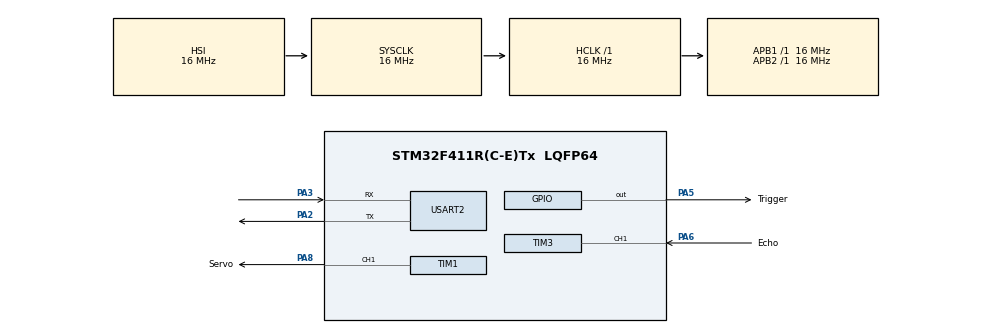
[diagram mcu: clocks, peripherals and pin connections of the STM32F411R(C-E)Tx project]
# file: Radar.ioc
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Mcu.Family=STM32F4
Mcu.Name=STM32F411R(C-E)Tx
Mcu.Package=LQFP64
NVIC.PriorityGroup=NVIC_PRIORITYGROUP_4
NVIC.TIM3_IRQn=true\:0\:0\:false\:false\:true\:true\:true\:true
NVIC.USART2_IRQn=true\:0\:0\:false\:false\:true\:true\:true\:true
PA2.Mode=Asynchronous
PA2.Signal=USART2_TX
PA3.Mode=Asynchronous
PA3.Signal=USART2_RX
PA5.GPIO_Label=Trigger
PA5.Signal=GPIO_Output
PA6.GPIO_Label=Echo
PA6.Signal=S_TIM3_CH1
PA8.GPIO_Label=Servo
PA8.Signal=S_TIM1_CH1
ProjectManager.HeapSize=0x200
ProjectManager.StackSize=0x400
ProjectManager.TargetToolchain=STM32CubeIDE
RCC.AHBFreq_Value=16000000
RCC.APB1Freq_Value=16000000
RCC.APB2Freq_Value=16000000
RCC.CortexFreq_Value=16000000
RCC.HSE_VALUE=25000000
RCC.HSI_VALUE=16000000
RCC.LSE_VALUE=32768
RCC.SYSCLKFreq_VALUE=16000000
RCC.VCOOutputFreq_Value=192000000
SH.S_TIM1_CH1.0=TIM1_CH1,PWM Generation1 CH1
SH.S_TIM3_CH1.0=TIM3_CH1,Input_Capture1_from_TI1
TIM1.Channel-PWM\ Generation1\ CH1=TIM_CHANNEL_1
TIM1.Period=20000-1
TIM1.Prescaler=16-1
TIM1.Pulse-PWM\ Generation1\ CH1=1500-1
TIM11.Prescaler=16-1
TIM3.Channel-Input_Capture1_from_TI1=TIM_CHANNEL_1
TIM3.Prescaler=16-1
USART2.VirtualMode=VM_ASYNC
VP_TIM11_VS_ClockSourceINT.Mode=Enable_Timer
VP_TIM1_VS_ClockSourceINT.Mode=Internal
VP_TIM3_VS_ClockSourceINT.Mode=Internal
board=custom

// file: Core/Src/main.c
/* USER CODE BEGIN Header */
/**
  ******************************************************************************
  * @file           : main.c
  * @brief          : Main program body
  ******************************************************************************
  * @attention
  *
  * Copyright (c) 2024 STMicroelectronics.
  * All rights reserved.
  *
  * This software is licensed under terms that can be found in the LICENSE file
  * in the root directory of this software component.
  * If no LICENSE file comes with this software, it is provided AS-IS.
  *
  ******************************************************************************
  */
/* USER CODE END Header */
#include "main.h"

/* USER CODE BEGIN Includes */
#include "UART.h"
/* USER CODE END Includes */

TIM_HandleTypeDef htim1;
TIM_HandleTypeDef htim3;
TIM_HandleTypeDef htim11;

UART_HandleTypeDef huart2;

void SystemClock_Config(void);
static void MX_GPIO_Init(void);
static void MX_TIM1_Init(void);
static void MX_TIM3_Init(void);
static void MX_TIM11_Init(void);
static void MX_USART2_UART_Init(void);

/* USER CODE BEGIN 0 */

long map(long x, long in_min, long in_max, long out_min, long out_max) {
  return (x - in_min) * (out_max - out_min) / (in_max - in_min) + out_min;
}

// delay Function implement using TIMER10(for us delay)
void delayUS(uint16_t time)
{
	htim11.Instance->CNT = 0;
	while(htim11.Instance->CNT < time);
}

uint32_t IC_Val1 = 0;
uint32_t IC_Val2 = 0;
uint32_t Difference = 0;
uint8_t IsFirstCaptured = 0;
uint32_t Distance = 0;

// ISR function(Input Capture)
void HAL_TIM_IC_CaptureCallback(TIM_HandleTypeDef *htim)
{
	// If Rising edge occurs, execute the code
	if(htim->Channel == HAL_TIM_ACTIVE_CHANNEL_1)
	{
		// Rising edge Interrupt
		if(IsFirstCaptured == 0)
		{
			// Read Timer CNT
			IC_Val1 = HAL_TIM_ReadCapturedValue(htim, TIM_CHANNEL_1);
			IsFirstCaptured = 1;
			// Next Interrupt -> Falling edge set
			__HAL_TIM_SET_CAPTUREPOLARITY(htim, TIM_CHANNEL_1,
					TIM_INPUTCHANNELPOLARITY_FALLING);
		}

		// Falling edge Interrupt
		else if(IsFirstCaptured == 1)
		{
			// Read Timer CNT
			IC_Val2 = HAL_TIM_ReadCapturedValue(htim, TIM_CHANNEL_1);
			htim->Instance->CNT = 0;
			if(IC_Val2 > IC_Val1) Difference = IC_Val2 - IC_Val1;
			// (IC_Val2 - IC_Val1) mean Ultrasonic transmit and receive time difference
			else if(IC_Val1 > IC_Val2) Difference = (0xffff - IC_Val1) + IC_Val2;
			// (IC_Val1 > IC_Val2) mean CNT value overflow

			// calculate distance
			/*
			 * CLK = 1Mhz -> 1clk = 1us
			 * distance = velocity*time = 340[m/s]*(CNT/2)[us] = 0.034*CNT/2[cm]
			 */
			Distance = Difference * 0.034 / 2;
			// Next Interrupt -> Rising edge set
			IsFirstCaptured = 0;
			__HAL_TIM_SET_CAPTUREPOLARITY(htim, TIM_CHANNEL_1,
					TIM_INPUTCHANNELPOLARITY_RISING);

			// disable Interrupt
			__HAL_TIM_DISABLE_IT(htim, TIM_IT_CC1);
		}
	}
}

uint32_t getDistance()
{
	// Trigger
	HAL_GPIO_WritePin(Trigger_GPIO_Port, Trigger_Pin, 1);
	delayUS(10);
	HAL_GPIO_WritePin(Trigger_GPIO_Port, Trigger_Pin, 0);

	// enable Interrupt -> can only occur Interrupt when I want to
	__HAL_TIM_ENABLE_IT(&htim3, TIM_IT_CC1);
	return Distance;
}

/* USER CODE END 0 */

int main(void)
{

  /* MCU Configuration--------------------------------------------------------*/

  /* Reset of all peripherals, Initializes the Flash interface and the Systick. */
  HAL_Init();

  /* Configure the system clock */
  SystemClock_Config();

  /* Initialize all configured peripherals */
  MX_GPIO_Init();
  MX_TIM1_Init();
  MX_TIM3_Init();
  MX_TIM11_Init();
  MX_USART2_UART_Init();
  /* USER CODE BEGIN 2 */
  initUart(&huart2);
  HAL_TIM_PWM_Start(&htim1, TIM_CHANNEL_1);
  HAL_TIM_IC_Start_IT(&htim3, TIM_CHANNEL_1);
  HAL_TIM_Base_Start(&htim11);
  /* USER CODE END 2 */

  /* Infinite loop */
  /* USER CODE BEGIN WHILE */
  while (1)
  {
  	protocol_t txData, rxData;
  	rxData = receivePacket();
  	if(rxData.command == 'R')
  	{
  		htim1.Instance->CCR1 = map(rxData.data, 0, 180, 500, 2300);
  		/*
  		 * long map(long x, long in_min, long in_max, long out_min, long out_max) 함수
  		 * x : mapping 할 data
  		 * in_min : 현재 data 범위의 최소값
  		 * in_max : 현재 data 범위의 최대값
  		 * out_min : mapping 할 범위의 최소값
  		 * out_max : mapping 할 범위의 최대값
  		 * => 현재 데이터의 범위를 바꿔주는(mapping) 함수
  		 *
  		 * 위에서는 0~180(도) 범위의 rxData.data를 500~2300 범위로 변경하여 pulse width 조절
  		 */
  		txData.command = 'A';
  		txData.data = getDistance();
  		transmitPacket(txData);
  	}
    /* USER CODE END WHILE */

  }
}

void SystemClock_Config(void)
{
  RCC_OscInitTypeDef RCC_OscInitStruct = {0};
  RCC_ClkInitTypeDef RCC_ClkInitStruct = {0};

  /** Configure the main internal regulator output voltage
  */
  __HAL_RCC_PWR_CLK_ENABLE();
  __HAL_PWR_VOLTAGESCALING_CONFIG(PWR_REGULATOR_VOLTAGE_SCALE1);

  /** Initializes the RCC Oscillators according to the specified parameters
  * in the RCC_OscInitTypeDef structure.
  */
  RCC_OscInitStruct.OscillatorType = RCC_OSCILLATORTYPE_HSI;
  RCC_OscInitStruct.HSIState = RCC_HSI_ON;
  RCC_OscInitStruct.HSICalibrationValue = RCC_HSICALIBRATION_DEFAULT;
  RCC_OscInitStruct.PLL.PLLState = RCC_PLL_NONE;
  if (HAL_RCC_OscConfig(&RCC_OscInitStruct) != HAL_OK)
  {
    Error_Handler();
  }

  /** Initializes the CPU, AHB and APB buses clocks
  */
  RCC_ClkInitStruct.ClockType = RCC_CLOCKTYPE_HCLK|RCC_CLOCKTYPE_SYSCLK
                              |RCC_CLOCKTYPE_PCLK1|RCC_CLOCKTYPE_PCLK2;
  RCC_ClkInitStruct.SYSCLKSource = RCC_SYSCLKSOURCE_HSI;
  RCC_ClkInitStruct.AHBCLKDivider = RCC_SYSCLK_DIV1;
  RCC_ClkInitStruct.APB1CLKDivider = RCC_HCLK_DIV1;
  RCC_ClkInitStruct.APB2CLKDivider = RCC_HCLK_DIV1;

  if (HAL_RCC_ClockConfig(&RCC_ClkInitStruct, FLASH_LATENCY_0) != HAL_OK)
  {
    Error_Handler();
  }
}

static void MX_TIM1_Init(void)
{

  TIM_ClockConfigTypeDef sClockSourceConfig = {0};
  TIM_MasterConfigTypeDef sMasterConfig = {0};
  TIM_OC_InitTypeDef sConfigOC = {0};
  TIM_BreakDeadTimeConfigTypeDef sBreakDeadTimeConfig = {0};

  htim1.Instance = TIM1;
  htim1.Init.Prescaler = 16-1;
  htim1.Init.CounterMode = TIM_COUNTERMODE_UP;
  htim1.Init.Period = 20000-1;
  htim1.Init.ClockDivision = TIM_CLOCKDIVISION_DIV1;
  htim1.Init.RepetitionCounter = 0;
  htim1.Init.AutoReloadPreload = TIM_AUTORELOAD_PRELOAD_DISABLE;
  if (HAL_TIM_Base_Init(&htim1) != HAL_OK)
  {
    Error_Handler();
  }
  sClockSourceConfig.ClockSource = TIM_CLOCKSOURCE_INTERNAL;
  if (HAL_TIM_ConfigClockSource(&htim1, &sClockSourceConfig) != HAL_OK)
  {
    Error_Handler();
  }
  if (HAL_TIM_PWM_Init(&htim1) != HAL_OK)
  {
    Error_Handler();
  }
  sMasterConfig.MasterOutputTrigger = TIM_TRGO_RESET;
  sMasterConfig.MasterSlaveMode = TIM_MASTERSLAVEMODE_DISABLE;
  if (HAL_TIMEx_MasterConfigSynchronization(&htim1, &sMasterConfig) != HAL_OK)
  {
    Error_Handler();
  }
  sConfigOC.OCMode = TIM_OCMODE_PWM1;
  sConfigOC.Pulse = 1500-1;
  sConfigOC.OCPolarity = TIM_OCPOLARITY_HIGH;
  sConfigOC.OCNPolarity = TIM_OCNPOLARITY_HIGH;
  sConfigOC.OCFastMode = TIM_OCFAST_DISABLE;
  sConfigOC.OCIdleState = TIM_OCIDLESTATE_RESET;
  sConfigOC.OCNIdleState = TIM_OCNIDLESTATE_RESET;
  if (HAL_TIM_PWM_ConfigChannel(&htim1, &sConfigOC, TIM_CHANNEL_1) != HAL_OK)
  {
    Error_Handler();
  }
  sBreakDeadTimeConfig.OffStateRunMode = TIM_OSSR_DISABLE;
  sBreakDeadTimeConfig.OffStateIDLEMode = TIM_OSSI_DISABLE;
  sBreakDeadTimeConfig.LockLevel = TIM_LOCKLEVEL_OFF;
  sBreakDeadTimeConfig.DeadTime = 0;
  sBreakDeadTimeConfig.BreakState = TIM_BREAK_DISABLE;
  sBreakDeadTimeConfig.BreakPolarity = TIM_BREAKPOLARITY_HIGH;
  sBreakDeadTimeConfig.AutomaticOutput = TIM_AUTOMATICOUTPUT_DISABLE;
  if (HAL_TIMEx_ConfigBreakDeadTime(&htim1, &sBreakDeadTimeConfig) != HAL_OK)
  {
    Error_Handler();
  }
  HAL_TIM_MspPostInit(&htim1);

}

static void MX_TIM3_Init(void)
{

  TIM_ClockConfigTypeDef sClockSourceConfig = {0};
  TIM_MasterConfigTypeDef sMasterConfig = {0};
  TIM_IC_InitTypeDef sConfigIC = {0};

  htim3.Instance = TIM3;
  htim3.Init.Prescaler = 16-1;
  htim3.Init.CounterMode = TIM_COUNTERMODE_UP;
  htim3.Init.Period = 65535;
  htim3.Init.ClockDivision = TIM_CLOCKDIVISION_DIV1;
  htim3.Init.AutoReloadPreload = TIM_AUTORELOAD_PRELOAD_DISABLE;
  if (HAL_TIM_Base_Init(&htim3) != HAL_OK)
  {
    Error_Handler();
  }
  sClockSourceConfig.ClockSource = TIM_CLOCKSOURCE_INTERNAL;
  if (HAL_TIM_ConfigClockSource(&htim3, &sClockSourceConfig) != HAL_OK)
  {
    Error_Handler();
  }
  if (HAL_TIM_IC_Init(&htim3) != HAL_OK)
  {
    Error_Handler();
  }
  sMasterConfig.MasterOutputTrigger = TIM_TRGO_RESET;
  sMasterConfig.MasterSlaveMode = TIM_MASTERSLAVEMODE_DISABLE;
  if (HAL_TIMEx_MasterConfigSynchronization(&htim3, &sMasterConfig) != HAL_OK)
  {
    Error_Handler();
  }
  sConfigIC.ICPolarity = TIM_INPUTCHANNELPOLARITY_RISING;
  sConfigIC.ICSelection = TIM_ICSELECTION_DIRECTTI;
  sConfigIC.ICPrescaler = TIM_ICPSC_DIV1;
  sConfigIC.ICFilter = 0;
  if (HAL_TIM_IC_ConfigChannel(&htim3, &sConfigIC, TIM_CHANNEL_1) != HAL_OK)
  {
    Error_Handler();
  }

}

static void MX_TIM11_Init(void)
{

  htim11.Instance = TIM11;
  htim11.Init.Prescaler = 16-1;
  htim11.Init.CounterMode = TIM_COUNTERMODE_UP;
  htim11.Init.Period = 65535;
  htim11.Init.ClockDivision = TIM_CLOCKDIVISION_DIV1;
  htim11.Init.AutoReloadPreload = TIM_AUTORELOAD_PRELOAD_DISABLE;
  if (HAL_TIM_Base_Init(&htim11) != HAL_OK)
  {
    Error_Handler();
  }

}

static void MX_USART2_UART_Init(void)
{

  huart2.Instance = USART2;
  huart2.Init.BaudRate = 115200;
  huart2.Init.WordLength = UART_WORDLENGTH_8B;
  huart2.Init.StopBits = UART_STOPBITS_1;
  huart2.Init.Parity = UART_PARITY_NONE;
  huart2.Init.Mode = UART_MODE_TX_RX;
  huart2.Init.HwFlowCtl = UART_HWCONTROL_NONE;
  huart2.Init.OverSampling = UART_OVERSAMPLING_16;
  if (HAL_UART_Init(&huart2) != HAL_OK)
  {
    Error_Handler();
  }

}

static void MX_GPIO_Init(void)
{
  GPIO_InitTypeDef GPIO_InitStruct = {0};

  /* GPIO Ports Clock Enable */
  __HAL_RCC_GPIOA_CLK_ENABLE();

  /*Configure GPIO pin Output Level */
  HAL_GPIO_WritePin(Trigger_GPIO_Port, Trigger_Pin, GPIO_PIN_RESET);

  /*Configure GPIO pin : Trigger_Pin */
  GPIO_InitStruct.Pin = Trigger_Pin;
  GPIO_InitStruct.Mode = GPIO_MODE_OUTPUT_PP;
  GPIO_InitStruct.Pull = GPIO_NOPULL;
  GPIO_InitStruct.Speed = GPIO_SPEED_FREQ_LOW;
  HAL_GPIO_Init(Trigger_GPIO_Port, &GPIO_InitStruct);

}

void Error_Handler(void)
{
  __disable_irq();
  while (1)
  {
  }
}
